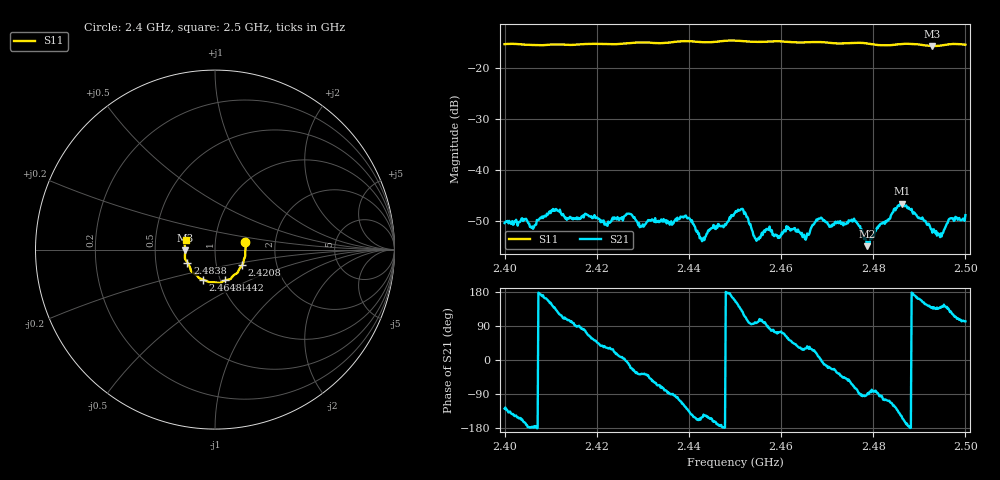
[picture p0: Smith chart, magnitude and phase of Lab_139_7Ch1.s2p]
# Hz S RI R 50
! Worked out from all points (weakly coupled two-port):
!   601 points, 2.4 GHz to 2.5 GHz, reference 50 ohm
!   highest |S21| = -46.60 dB at 2.4863 GHz (marker M1); lowest = -55.0 dB at 2.4787 GHz (marker M2)
!   lowest |S11| = -15.6 dB at 2.4928 GHz (marker M3), VSWR 1.40, Z = 35.8 - j0.364 ohm
!   |S11| at or under -10 dB: start of sweep to end of sweep
!   S12 and S22 are empty: the file has one direction only
!   S11 on the Smith chart (normalised r, x): 2.4 GHz: 1.40, +0.12; 2.4208 GHz: 1.33, -0.24; 2.4442 GHz: 1.05, -0.37; 2.4648 GHz: 0.83, -0.29; 2.4838 GHz: 0.73, -0.11; 2.5 GHz: 0.72, +0.08
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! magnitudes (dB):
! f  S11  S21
! 2.4 GHz  -15.2  -50.4
! 2.406 GHz  -15.4  -51.1
! 2.4108 GHz  -15.3  -47.8
! 2.4167 GHz  -15.2  -49.1
! 2.4208 GHz  -15.2  -50.2
! 2.4333 GHz  -15.0  -50.0
! 2.4395 GHz  -14.6  -49.3
! 2.4428 GHz  -14.8  -54.0
! 2.4442 GHz  -14.9  -51.9
! 2.45 GHz  -14.5  -48.4
! 2.4518 GHz  -14.6  -47.9
! 2.4547 GHz  -14.8  -53.9
! 2.4572 GHz  -14.7  -51.6
! 2.4648 GHz  -14.9  -53.0
! 2.4667 GHz  -14.8  -51.1
! 2.4758 GHz  -15.0  -49.5
! 2.4787 GHz  -15.1  -55.0
! 2.4833 GHz  -15.5  -49.6
! 2.4838 GHz  -15.4  -48.9
! 2.4863 GHz  -15.2  -46.6
! 2.4928 GHz  -15.6  -52.3
! 2.5 GHz  -15.3  -48.9
